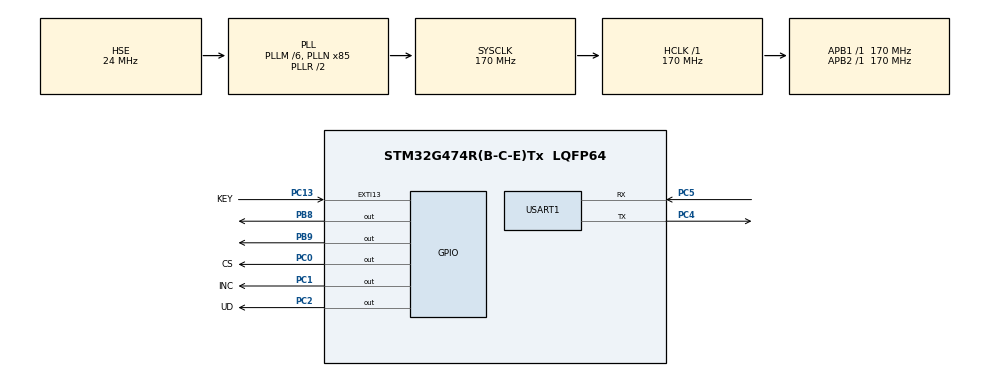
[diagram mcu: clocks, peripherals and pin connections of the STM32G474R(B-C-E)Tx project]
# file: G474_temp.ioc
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Mcu.Family=STM32G4
Mcu.Name=STM32G474R(B-C-E)Tx
Mcu.Package=LQFP64
NVIC.EXTI15_10_IRQn=true\:0\:0\:false\:false\:true\:true\:true\:true
NVIC.PriorityGroup=NVIC_PRIORITYGROUP_4
NVIC.USART1_IRQn=true\:0\:0\:false\:false\:true\:true\:true\:true
PA13.Mode=Serial_Wire
PA13.Signal=SYS_JTMS-SWDIO
PA14.Mode=Serial_Wire
PA14.Signal=SYS_JTCK-SWCLK
PB8-BOOT0.GPIO_FM8=__NULL
PB8-BOOT0.GPIO_ModeDefaultOutputPP=GPIO_MODE_OUTPUT_OD
PB8-BOOT0.GPIO_PuPd=GPIO_PULLUP
PB8-BOOT0.GPIO_Speed=GPIO_SPEED_FREQ_VERY_HIGH
PB8-BOOT0.Signal=GPIO_Output
PB9.GPIO_ModeDefaultOutputPP=GPIO_MODE_OUTPUT_OD
PB9.GPIO_PuPd=GPIO_PULLUP
PB9.GPIO_Speed=GPIO_SPEED_FREQ_VERY_HIGH
PB9.Signal=GPIO_Output
PC0.GPIO_Label=CS
PC0.GPIO_Speed=GPIO_SPEED_FREQ_LOW
PC0.Signal=GPIO_Output
PC1.GPIO_Label=INC
PC1.GPIO_Speed=GPIO_SPEED_FREQ_LOW
PC1.Signal=GPIO_Output
PC13.GPIO_Label=KEY
PC13.Signal=GPXTI13
PC14-OSC32_IN.Mode=LSE-External-Oscillator
PC14-OSC32_IN.Signal=RCC_OSC32_IN
PC15-OSC32_OUT.Mode=LSE-External-Oscillator
PC15-OSC32_OUT.Signal=RCC_OSC32_OUT
PC2.GPIO_Label=UD
PC2.Signal=GPIO_Output
PC4.Mode=Asynchronous
PC4.Signal=USART1_TX
PC5.Mode=Asynchronous
PC5.Signal=USART1_RX
PF0-OSC_IN.Mode=HSE-External-Oscillator
PF0-OSC_IN.Signal=RCC_OSC_IN
PF1-OSC_OUT.Mode=HSE-External-Oscillator
PF1-OSC_OUT.Signal=RCC_OSC_OUT
ProjectManager.HeapSize=0x200
ProjectManager.StackSize=0x400
ProjectManager.TargetToolchain=MDK-ARM V5.32
RCC.ADC12Freq_Value=170000000
RCC.ADC345Freq_Value=170000000
RCC.AHBFreq_Value=170000000
RCC.APB1Freq_Value=170000000
RCC.APB1TimFreq_Value=170000000
RCC.APB2Freq_Value=170000000
RCC.APB2TimFreq_Value=170000000
RCC.CortexFreq_Value=170000000
RCC.EXTERNAL_CLOCK_VALUE=12288000
RCC.HCLKFreq_Value=170000000
RCC.HSE_VALUE=24000000
RCC.HSI48_VALUE=48000000
RCC.HSI_VALUE=16000000
RCC.PLLM=RCC_PLLM_DIV6
RCC.PLLN=85
RCC.PLLSourceVirtual=RCC_PLLSOURCE_HSE
RCC.RTCClockSelection=RCC_RTCCLKSOURCE_LSE
RCC.SYSCLKFreq_VALUE=170000000
RCC.SYSCLKSource=RCC_SYSCLKSOURCE_PLLCLK
RCC.USBFreq_Value=170000000
RCC.VCOOutputFreq_Value=340000000
USART1.VirtualMode-Asynchronous=VM_ASYNC
VP_SYS_VS_DBSignals.Mode=DisableDeadBatterySignals
board=NUCLEO-G474RE

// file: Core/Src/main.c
/* USER CODE BEGIN Header */
/**
  ******************************************************************************
  * @file           : main.c
  * @brief          : Main program body
  ******************************************************************************
  * @attention
  *
  * Copyright (c) 2023 STMicroelectronics.
  * All rights reserved.
  *
  * This software is licensed under terms that can be found in the LICENSE file
  * in the root directory of this software component.
  * If no LICENSE file comes with this software, it is provided AS-IS.
  *
  ******************************************************************************
  */
/* USER CODE END Header */
#include "main.h"
#include "usart.h"
#include "gpio.h"

/* USER CODE BEGIN Includes */
#include "delay.h"
#include "myusart1.h"
#include "OLED_I2C.h"
#include "X9C.h"
/* USER CODE END Includes */

void SystemClock_Config(void);

int main(void)
{

  /* MCU Configuration--------------------------------------------------------*/

  /* Reset of all peripherals, Initializes the Flash interface and the Systick. */
  HAL_Init();

  /* Configure the system clock */
  SystemClock_Config();

  /* Initialize all configured peripherals */
  MX_GPIO_Init();
  MX_USART1_UART_Init();
  /* USER CODE BEGIN 2 */
  delay_init(170);

  MyUSART1_Init(&huart1);

  OLED_Init();
  OLED_CLS();
  OLED_ShowStr(40,3,(unsigned char *)"START",2);

  X9C_Init();

  uint8_t Rx_data[100];
  /* USER CODE END 2 */

  /* Infinite loop */
  /* USER CODE BEGIN WHILE */
  while (1)
  {
    if(MyUSART1_ReadLine(Rx_data))
    {
      MyUSART1_WriteLine((uint8_t *)"你发送的是");
      MyUSART1_WriteLine(Rx_data);
      if(Rx_data[0]=='0'&& Rx_data[1]=='1')
        OLED_ShowStr(40,3,(unsigned char *)"RIGHT",2);
      else
        OLED_ShowStr(40,3,(unsigned char *)"FALSE",2);
    }
    delay_ms(5);

    /* USER CODE END WHILE */

  }
}

void SystemClock_Config(void)
{
  RCC_OscInitTypeDef RCC_OscInitStruct = {0};
  RCC_ClkInitTypeDef RCC_ClkInitStruct = {0};

  /** Configure the main internal regulator output voltage
  */
  HAL_PWREx_ControlVoltageScaling(PWR_REGULATOR_VOLTAGE_SCALE1_BOOST);

  /** Initializes the RCC Oscillators according to the specified parameters
  * in the RCC_OscInitTypeDef structure.
  */
  RCC_OscInitStruct.OscillatorType = RCC_OSCILLATORTYPE_HSE;
  RCC_OscInitStruct.HSEState = RCC_HSE_ON;
  RCC_OscInitStruct.PLL.PLLState = RCC_PLL_ON;
  RCC_OscInitStruct.PLL.PLLSource = RCC_PLLSOURCE_HSE;
  RCC_OscInitStruct.PLL.PLLM = RCC_PLLM_DIV6;
  RCC_OscInitStruct.PLL.PLLN = 85;
  RCC_OscInitStruct.PLL.PLLP = RCC_PLLP_DIV2;
  RCC_OscInitStruct.PLL.PLLQ = RCC_PLLQ_DIV2;
  RCC_OscInitStruct.PLL.PLLR = RCC_PLLR_DIV2;
  if (HAL_RCC_OscConfig(&RCC_OscInitStruct) != HAL_OK)
  {
    Error_Handler();
  }

  /** Initializes the CPU, AHB and APB buses clocks
  */
  RCC_ClkInitStruct.ClockType = RCC_CLOCKTYPE_HCLK|RCC_CLOCKTYPE_SYSCLK
                              |RCC_CLOCKTYPE_PCLK1|RCC_CLOCKTYPE_PCLK2;
  RCC_ClkInitStruct.SYSCLKSource = RCC_SYSCLKSOURCE_PLLCLK;
  RCC_ClkInitStruct.AHBCLKDivider = RCC_SYSCLK_DIV1;
  RCC_ClkInitStruct.APB1CLKDivider = RCC_HCLK_DIV1;
  RCC_ClkInitStruct.APB2CLKDivider = RCC_HCLK_DIV1;

  if (HAL_RCC_ClockConfig(&RCC_ClkInitStruct, FLASH_LATENCY_4) != HAL_OK)
  {
    Error_Handler();
  }
}

/* USER CODE BEGIN 4 */
void HAL_GPIO_EXTI_Callback(uint16_t GPIO_PIN)
{
	static uint16_t num = 0;
	if(KEY_Pin)
	{
		OLED_CLS();
		OLED_ShowInt(40,3,num++,2);
		X9C_Inc_N_Step(1);
//		X9C_Dec_N_Step(1);
	}
}
/* USER CODE END 4 */

void Error_Handler(void)
{
  __disable_irq();
  while (1)
  {
  }
}
